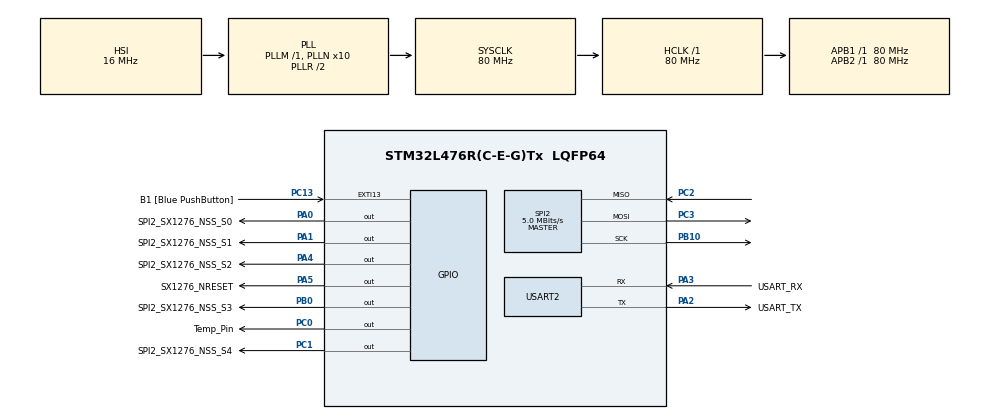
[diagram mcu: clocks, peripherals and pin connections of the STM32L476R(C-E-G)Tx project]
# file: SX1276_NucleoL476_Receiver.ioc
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Mcu.Family=STM32L4
Mcu.Name=STM32L476R(C-E-G)Tx
Mcu.Package=LQFP64
NVIC.EXTI15_10_IRQn=true\:0\:0\:false\:false\:true\:true\:true\:true
NVIC.PriorityGroup=NVIC_PRIORITYGROUP_4
NVIC.RTC_WKUP_IRQn=true\:0\:0\:false\:false\:true\:true\:true\:true
PA0.GPIO_Label=SPI2_SX1276_NSS_S0
PA0.PinState=GPIO_PIN_SET
PA0.Signal=GPIO_Output
PA1.GPIO_Label=SPI2_SX1276_NSS_S1
PA1.Signal=GPIO_Output
PA13\ (JTMS-SWDIO).GPIO_Label=TMS
PA13\ (JTMS-SWDIO).Mode=Trace_Asynchronous_SW
PA13\ (JTMS-SWDIO).Signal=SYS_JTMS-SWDIO
PA14\ (JTCK-SWCLK).GPIO_Label=TCK
PA14\ (JTCK-SWCLK).Mode=Trace_Asynchronous_SW
PA14\ (JTCK-SWCLK).Signal=SYS_JTCK-SWCLK
PA2.GPIO_Label=USART_TX
PA2.GPIO_Mode=GPIO_MODE_AF_PP
PA2.GPIO_PuPd=GPIO_NOPULL
PA2.GPIO_Speed=GPIO_SPEED_FREQ_VERY_HIGH
PA2.Mode=Asynchronous
PA2.Signal=USART2_TX
PA3.GPIO_Label=USART_RX
PA3.GPIO_Mode=GPIO_MODE_AF_PP
PA3.GPIO_PuPd=GPIO_NOPULL
PA3.GPIO_Speed=GPIO_SPEED_FREQ_VERY_HIGH
PA3.Mode=Asynchronous
PA3.Signal=USART2_RX
PA4.GPIO_Label=SPI2_SX1276_NSS_S2
PA4.Signal=GPIO_Output
PA5.GPIO_Label=SX1276_NRESET
PA5.GPIO_ModeDefaultOutputPP=GPIO_MODE_OUTPUT_PP
PA5.GPIO_PuPd=GPIO_NOPULL
PA5.GPIO_Speed=GPIO_SPEED_FREQ_LOW
PA5.PinState=GPIO_PIN_SET
PA5.Signal=GPIO_Output
PB0.GPIO_Label=SPI2_SX1276_NSS_S3
PB0.Signal=GPIO_Output
PB10.Mode=Full_Duplex_Master
PB10.Signal=SPI2_SCK
PB3\ (JTDO-TRACESWO).GPIO_Label=SWO
PB3\ (JTDO-TRACESWO).Mode=Trace_Asynchronous_SW
PB3\ (JTDO-TRACESWO).Signal=SYS_JTDO-SWO
PC0.GPIO_Label=Temp_Pin
PC0.Signal=GPIO_Output
PC1.GPIO_Label=SPI2_SX1276_NSS_S4
PC1.Signal=GPIO_Output
PC13.GPIO_Label=B1 [Blue PushButton]
PC13.GPIO_ModeDefaultEXTI=GPIO_MODE_IT_FALLING
PC13.GPIO_PuPd=GPIO_NOPULL
PC13.Signal=GPXTI13
PC14-OSC32_IN\ (PC14).Mode=LSE-External-Oscillator
PC14-OSC32_IN\ (PC14).Signal=RCC_OSC32_IN
PC15-OSC32_OUT\ (PC15).Mode=LSE-External-Oscillator
PC15-OSC32_OUT\ (PC15).Signal=RCC_OSC32_OUT
PC2.Mode=Full_Duplex_Master
PC2.Signal=SPI2_MISO
PC3.Mode=Full_Duplex_Master
PC3.Signal=SPI2_MOSI
PH0-OSC_IN\ (PH0).Signal=RCC_OSC_IN
PH1-OSC_OUT\ (PH1).Signal=RCC_OSC_OUT
ProjectManager.HeapSize=0x200
ProjectManager.StackSize=0x400
ProjectManager.TargetToolchain=STM32CubeIDE
RCC.ADCFreq_Value=64000000
RCC.AHBFreq_Value=80000000
RCC.APB1Freq_Value=80000000
RCC.APB1TimFreq_Value=80000000
RCC.APB2Freq_Value=80000000
RCC.APB2TimFreq_Value=80000000
RCC.CortexFreq_Value=80000000
RCC.HCLKFreq_Value=80000000
RCC.HSE_VALUE=8000000
RCC.HSI_VALUE=16000000
RCC.MSIClockRange=RCC_MSIRANGE_11
RCC.MSI_VALUE=48000000
RCC.PLLN=10
RCC.PLLSourceVirtual=RCC_PLLSOURCE_HSI
RCC.PREFETCH_ENABLE=1
RCC.SYSCLKFreq_VALUE=80000000
RCC.SYSCLKSource=RCC_SYSCLKSOURCE_PLLCLK
RCC.USART2CLockSelection=RCC_USART2CLKSOURCE_HSI
RCC.USBFreq_Value=64000000
RCC.VCOOutputFreq_Value=160000000
RTC.WakeUpCounter-WakeUp=1
SPI2.BaudRatePrescaler=SPI_BAUDRATEPRESCALER_16
SPI2.CalculateBaudRate=5.0 MBits/s
SPI2.DataSize=SPI_DATASIZE_8BIT
SPI2.Direction=SPI_DIRECTION_2LINES
SPI2.Mode=SPI_MODE_MASTER
SPI2.VirtualType=VM_MASTER
TIM16.Period=65535
TIM16.Prescaler=4000
USART2.VirtualMode-Asynchronous=VM_ASYNC
VP_RTC_VS_RTC_Activate.Mode=RTC_Enabled
VP_RTC_VS_RTC_WakeUp_intern.Mode=WakeUp
VP_TIM16_VS_ClockSourceINT.Mode=Enable_Timer
board=NUCLEO-L476RG

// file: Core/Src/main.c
/* USER CODE BEGIN Header */
/**
 ******************************************************************************
 * @file           : main.c
 * @brief          : Main program body
 ******************************************************************************
 * @attention
 *
 * Copyright (c) 2025 STMicroelectronics.
 * All rights reserved.
 *
 * This software is licensed under terms that can be found in the LICENSE file
 * in the root directory of this software component.
 * If no LICENSE file comes with this software, it is provided AS-IS.
 *
 ******************************************************************************
 */
/* USER CODE END Header */
#include "main.h"

/* USER CODE BEGIN Includes */
#include "stm32_SX1276_spi.h"
#include "string.h"
#include "stdio.h"
/* USER CODE END Includes */

/* USER CODE BEGIN PD */
# define NUMBER_OF_LORA_NODES			0x05

/* USER CODE END PD */

RTC_HandleTypeDef hrtc;

SPI_HandleTypeDef hspi2;

TIM_HandleTypeDef htim16;

UART_HandleTypeDef huart2;

/* USER CODE BEGIN PV */
uint32_t TIM16_PRESCALR=0;
/* USER CODE END PV */

void SystemClock_Config(void);
static void MX_GPIO_Init(void);
static void MX_USART2_UART_Init(void);
static void MX_SPI2_Init(void);
static void MX_RTC_Init(void);
static void MX_TIM16_Init(void);

int main(void)
{

	/* USER CODE BEGIN 1 */
	uint8_t buff[1000]={0};
	/* USER CODE END 1 */

	/* MCU Configuration--------------------------------------------------------*/

	/* Reset of all peripherals, Initializes the Flash interface and the Systick. */
	HAL_Init();

	/* Configure the system clock */
	SystemClock_Config();

	/* Initialize all configured peripherals */
	MX_GPIO_Init();
	MX_USART2_UART_Init();
	MX_SPI2_Init();
	MX_RTC_Init();
	MX_TIM16_Init();
	/* USER CODE BEGIN 2 */

	SPI_SX1276_TypeDef test, test1, test2, test3, test4;
	SX1276_Init_Param init, init1, init2, init3, init4;

	if(NUMBER_OF_LORA_NODES >=1)
	{
		test.NSS_GPIOx = SPI2_SX1276_NSS_S0_GPIO_Port;
		test.NSS_GPIO_Pin = SPI2_SX1276_NSS_S0_Pin;
		test.hspi = &hspi2;
		test.hrtc_l = &hrtc;

		init.NRESET_GPIOx = SX1276_NRESET_GPIO_Port;
		init.NRESET_GPIO_Pin = SX1276_NRESET_Pin;
		init.SPI_SX1276 = test;
		init.hrtc_l = &hrtc;
	}

	if(NUMBER_OF_LORA_NODES >=2)
	{
		test1.NSS_GPIOx = SPI2_SX1276_NSS_S1_GPIO_Port;
		test1.NSS_GPIO_Pin = SPI2_SX1276_NSS_S1_Pin;
		test1.hspi = &hspi2;
		test1.hrtc_l = &hrtc;

		init1.NRESET_GPIOx = SX1276_NRESET_GPIO_Port;
		init1.NRESET_GPIO_Pin = SX1276_NRESET_Pin;
		init1.SPI_SX1276 = test1;
		init1.hrtc_l = &hrtc;
	}

	if(NUMBER_OF_LORA_NODES >=3)
	{
		test2.NSS_GPIOx = SPI2_SX1276_NSS_S2_GPIO_Port;
		test2.NSS_GPIO_Pin = SPI2_SX1276_NSS_S2_Pin;
		test2.hspi = &hspi2;
		test2.hrtc_l = &hrtc;

		init2.NRESET_GPIOx = SX1276_NRESET_GPIO_Port;
		init2.NRESET_GPIO_Pin = SX1276_NRESET_Pin;
		init2.SPI_SX1276 = test2;
		init2.hrtc_l = &hrtc;
	}

	if(NUMBER_OF_LORA_NODES >=4)
	{
		test3.NSS_GPIOx = SPI2_SX1276_NSS_S3_GPIO_Port;
		test3.NSS_GPIO_Pin = SPI2_SX1276_NSS_S3_Pin;
		test3.hspi = &hspi2;
		test3.hrtc_l = &hrtc;

		init3.NRESET_GPIOx = SX1276_NRESET_GPIO_Port;
		init3.NRESET_GPIO_Pin = SX1276_NRESET_Pin;
		init3.SPI_SX1276 = test3;
		init3.hrtc_l = &hrtc;
	}

	if(NUMBER_OF_LORA_NODES >=5)
	{
		test4.NSS_GPIOx = SPI2_SX1276_NSS_S4_GPIO_Port;
		test4.NSS_GPIO_Pin = SPI2_SX1276_NSS_S4_Pin;
		test4.hspi = &hspi2;
		test4.hrtc_l = &hrtc;

		init4.NRESET_GPIOx = SX1276_NRESET_GPIO_Port;
		init4.NRESET_GPIO_Pin = SX1276_NRESET_Pin;
		init4.SPI_SX1276 = test4;
		init4.hrtc_l = &hrtc;
	}

	//---------------------------------------------
	SX1276_CommParam CommParam;
	CommParam.Bandwidth = SX1276_LoRa_REG_MODEM_CONFIG1_BW_125_kHz;
	CommParam.CodingRate= SX1276_LoRa_REG_MODEM_CONFIG1_CR_4_5;
	CommParam.Spreadfactor = SX1276_LoRa_REG_MODEM_CONFIG2_SF7;
	CommParam.PreambleLength = 8;

	uint8_t buffLoRa[255]={0};
	uint8_t buffLoRaR[255]={0};

	sprintf((char *)buffLoRa, " 123456789.123456789.123456789.123456789.123456789.123456789.123456789.123456789.123456789.123456789.123456789.123456789.123456789.123456789.123456789.123456789.123456789.123456789.123456789.123456789.");
	buffLoRa[0] = 1;

	uint8_t count=0;

	uint8_t PacketSize_bytes=240;
	uint8_t PacketSize_bytesR=0;
	//HAL_Delay(1000);

	buffLoRa[1] = count;

	sprintf((char *)buff, "SX1276 Init \r\n");
	HAL_UART_Transmit(&huart2, buff, sizeof(buff), 100);

	uint8_t AvailableLoRaNodes=0xFF;

	/****************************************************
	 * Init Code
	 ****************************************************/
	// Node 0-----------------------------------------------------
	if(NUMBER_OF_LORA_NODES >=1)
	{
		if(SX1276_Init(init)!=SX1276_OK)
		{
			sprintf((char *)buff, "SX1276 Init 0: FAIL \r\n");
			HAL_UART_Transmit(&huart2, buff, sizeof(buff), 100);
		}
		else
		{
			AvailableLoRaNodes &= 0b11111110;
			sprintf((char *)buff, "SX1276 Init 0: OK \r\n");
			HAL_UART_Transmit(&huart2, buff, sizeof(buff), 100);
		}

	}

	// Node 1-----------------------------------------------------
	if(NUMBER_OF_LORA_NODES >=2)
	{
		if(SX1276_Init(init1)!=SX1276_OK)
		{
			sprintf((char *)buff, "SX1276 Init 1: FAIL \r\n");
			HAL_UART_Transmit(&huart2, buff, sizeof(buff), 100);
		}
		else
		{
			AvailableLoRaNodes &= 0b11111101;
			sprintf((char *)buff, "SX1276 Init 1: OK \r\n");
			HAL_UART_Transmit(&huart2, buff, sizeof(buff), 100);
		}

	}

	// Node 2-----------------------------------------------------
	if(NUMBER_OF_LORA_NODES >=3)
	{
		if(SX1276_Init(init2)!=SX1276_OK)
		{
			sprintf((char *)buff, "SX1276 Init 2: FAIL \r\n");
			HAL_UART_Transmit(&huart2, buff, sizeof(buff), 100);
		}
		else
		{
			AvailableLoRaNodes &= 0b11111011;
			sprintf((char *)buff, "SX1276 Init 2: OK \r\n");
			HAL_UART_Transmit(&huart2, buff, sizeof(buff), 100);
		}

	}

	// Node 3-----------------------------------------------------
	if(NUMBER_OF_LORA_NODES >=4)
	{
		if(SX1276_Init(init3)!=SX1276_OK)
		{
			sprintf((char *)buff, "SX1276 Init 3: FAIL \r\n");
			HAL_UART_Transmit(&huart2, buff, sizeof(buff), 100);
		}
		else
		{
			AvailableLoRaNodes &= 0b11110111;
			sprintf((char *)buff, "SX1276 Init 3: OK \r\n");
			HAL_UART_Transmit(&huart2, buff, sizeof(buff), 100);
		}

	}

	// Node 4-----------------------------------------------------
	if(NUMBER_OF_LORA_NODES >=5)
	{
		if(SX1276_Init(init4)!=SX1276_OK)
		{
			sprintf((char *)buff, "SX1276 Init 4: FAIL \r\n");
			HAL_UART_Transmit(&huart2, buff, sizeof(buff), 100);
		}
		else
		{
			AvailableLoRaNodes &= 0b11101111;
			sprintf((char *)buff, "SX1276 Init 4: OK \r\n");
			HAL_UART_Transmit(&huart2, buff, sizeof(buff), 100);
		}

	}

	HAL_GPIO_WritePin(SX1276_NRESET_GPIO_Port, SX1276_NRESET_Pin, GPIO_PIN_RESET);
	HAL_Delay(100);
	HAL_GPIO_WritePin(SX1276_NRESET_GPIO_Port, SX1276_NRESET_Pin, GPIO_PIN_SET);
	HAL_Delay(100);

	/****************************************************
	 * Dummy Transmit
	 ***************************************************/

	// Check Number of LoRa Nodes set and if the node is available
	if( (NUMBER_OF_LORA_NODES >=1) && (AvailableLoRaNodes && 0b00000001) )
	{
		sprintf((char *)buff, "SX1276 Dummy Node 0 Transmit : %u\r\n", SX1276_Transmit(test, buffLoRa, PacketSize_bytes, 906000, SX1276_LoRa_PA_CONFIG_OP_POWER_dBm_17, NORMAL_MODE_MCU_STOP_MODE, CommParam));
		HAL_UART_Transmit(&huart2, buff, sizeof(buff), 100);
	}

	if( (NUMBER_OF_LORA_NODES >=2) && ((AvailableLoRaNodes>>1) && 0b00000001) )
	{
		sprintf((char *)buff, "SX1276 Dummy Node 1 Transmit : %u\r\n", SX1276_Transmit(test1, buffLoRa, PacketSize_bytes, 906000, SX1276_LoRa_PA_CONFIG_OP_POWER_dBm_17, NORMAL_MODE_MCU_STOP_MODE, CommParam));
		HAL_UART_Transmit(&huart2, buff, sizeof(buff), 100);
	}

	if( (NUMBER_OF_LORA_NODES >=3) && ((AvailableLoRaNodes>>2) && 0b00000001) )
	{
		sprintf((char *)buff, "SX1276 Dummy Node 2 Transmit : %u\r\n", SX1276_Transmit(test2, buffLoRa, PacketSize_bytes, 906000, SX1276_LoRa_PA_CONFIG_OP_POWER_dBm_17, NORMAL_MODE_MCU_STOP_MODE, CommParam));
		HAL_UART_Transmit(&huart2, buff, sizeof(buff), 100);
	}

	if( (NUMBER_OF_LORA_NODES >=4) && ((AvailableLoRaNodes>>3) && 0b00000001) )
	{
		sprintf((char *)buff, "SX1276 Dummy Node 3 Transmit : %u\r\n", SX1276_Transmit(test3, buffLoRa, PacketSize_bytes, 906000, SX1276_LoRa_PA_CONFIG_OP_POWER_dBm_17, NORMAL_MODE_MCU_STOP_MODE, CommParam));
		HAL_UART_Transmit(&huart2, buff, sizeof(buff), 100);
	}

	if( (NUMBER_OF_LORA_NODES >=5) && ((AvailableLoRaNodes>>4) && 0b00000001) )
	{
		sprintf((char *)buff, "SX1276 Dummy Node 4 Transmit : %u\r\n", SX1276_Transmit(test4, buffLoRa, PacketSize_bytes, 906000, SX1276_LoRa_PA_CONFIG_OP_POWER_dBm_17, NORMAL_MODE_MCU_STOP_MODE, CommParam));
		HAL_UART_Transmit(&huart2, buff, sizeof(buff), 100);
	}

	/*****************************************************************************************************
	 * Run Sync Schedule
	 * 	-	Set seperately from dummy code so that the dummy code can commented out easily.
	 *	-	The node availability check logic shall be the same.
	 *****************************************************************************************************/

	uint32_t LoRaFrequnecy_KHz = 915000;

	if( (NUMBER_OF_LORA_NODES >=1) && (AvailableLoRaNodes && 0b00000001) )
	{

		if(SX1276_Receiver_RunSyncSchedule(test, buffLoRa, buffLoRaR, PacketSize_bytes, &PacketSize_bytesR, LoRaFrequnecy_KHz, SX1276_LoRa_PA_CONFIG_OP_POWER_dBm_17, CommParam)!=SX1276_OK)
		{
			strcpy((char *)buff, "Run Sync Node 0; 1; failed");
			HAL_UART_Transmit(&huart2, buff, sizeof(buff), 100);
		}

		if(SX1276_Receiver_RunSyncSchedule(test, buffLoRa, buffLoRaR, PacketSize_bytes, &PacketSize_bytesR, LoRaFrequnecy_KHz, SX1276_LoRa_PA_CONFIG_OP_POWER_dBm_17, CommParam)!=SX1276_OK)
		{
			strcpy((char *)buff, "Run Sync Node 0; 1; failed");
			HAL_UART_Transmit(&huart2, buff, sizeof(buff), 100);
		}

		if(SX1276_Receiver_RunSyncSchedule(test, buffLoRa, buffLoRaR, PacketSize_bytes, &PacketSize_bytesR, LoRaFrequnecy_KHz, SX1276_LoRa_PA_CONFIG_OP_POWER_dBm_17, CommParam)!=SX1276_OK)
		{
			strcpy((char *)buff, "Run Sync Node 0; 1; failed");
			HAL_UART_Transmit(&huart2, buff, sizeof(buff), 100);
		}

		if(SX1276_Receiver_RunSyncSchedule(test, buffLoRa, buffLoRaR, PacketSize_bytes, &PacketSize_bytesR, LoRaFrequnecy_KHz, SX1276_LoRa_PA_CONFIG_OP_POWER_dBm_17, CommParam)!=SX1276_OK)
		{
			strcpy((char *)buff, "Run Sync Node 0; 1; failed");
			HAL_UART_Transmit(&huart2, buff, sizeof(buff), 100);
		}

		sprintf((char *)buff, "SX1276 Node 0 Sync Schedule Complete.\r\n");
		HAL_UART_Transmit(&huart2, buff, sizeof(buff), 100);
	}

	/*********************************************************************************
	 * Receiver SetConfig
	 *********************************************************************************/
	LoRaFrequnecy_KHz = 905000;
	uint32_t  HoppFrequencyMultiplier = 250;	//relates to displacement of signal in Hz; Shall be fixed on the basis of bandwidth and spread factor
	uint8_t Status;

	if( (NUMBER_OF_LORA_NODES >=1) && (AvailableLoRaNodes && 0b00000001) )
	{
		Status = SX1276_Multi_Receiver_Contineous_SetConfiguration(test, LoRaFrequnecy_KHz+HoppFrequencyMultiplier*0, CommParam);
		sprintf((char *)buff, "SX1276 Receiver Node 0 SetConfig : %u\r\n", Status);
		HAL_UART_Transmit(&huart2, buff, sizeof(buff), 100);
	}

	if( (NUMBER_OF_LORA_NODES >=2) && ((AvailableLoRaNodes>>1) && 0b00000001) )
	{
		Status = SX1276_Multi_Receiver_Contineous_SetConfiguration(test, LoRaFrequnecy_KHz+HoppFrequencyMultiplier*1, CommParam);
		sprintf((char *)buff, "SX1276 Receiver Node 1 SetConfig : %u\r\n", Status);
		HAL_UART_Transmit(&huart2, buff, sizeof(buff), 100);
	}

	if( (NUMBER_OF_LORA_NODES >=3) && ((AvailableLoRaNodes>>2) && 0b00000001) )
	{
		Status = SX1276_Multi_Receiver_Contineous_SetConfiguration(test, LoRaFrequnecy_KHz+HoppFrequencyMultiplier*2, CommParam);
		sprintf((char *)buff, "SX1276 Receiver Node 2 SetConfig : %u\r\n", Status);
		HAL_UART_Transmit(&huart2, buff, sizeof(buff), 100);
	}

	if( (NUMBER_OF_LORA_NODES >=4) && ((AvailableLoRaNodes>>3) && 0b00000001) )
	{
		Status = SX1276_Multi_Receiver_Contineous_SetConfiguration(test, LoRaFrequnecy_KHz+HoppFrequencyMultiplier*3, CommParam);
		sprintf((char *)buff, "SX1276 Receiver Node 3 SetConfig : %u\r\n", Status);
		HAL_UART_Transmit(&huart2, buff, sizeof(buff), 100);
	}

	if( (NUMBER_OF_LORA_NODES >=5) && ((AvailableLoRaNodes>>4) && 0b00000001) )
	{
		Status = SX1276_Multi_Receiver_Contineous_SetConfiguration(test, LoRaFrequnecy_KHz+HoppFrequencyMultiplier*4, CommParam);
		sprintf((char *)buff, "SX1276 Receiver Node 4 SetConfig : %u\r\n", Status);
		HAL_UART_Transmit(&huart2, buff, sizeof(buff), 100);
	}

	/********************************************************
	 * Get data
	 ********************************************************/
	if( (NUMBER_OF_LORA_NODES >=1) && (AvailableLoRaNodes && 0b00000001) )
	{
		Status = SX1276_Multi_Receiver_Contineous_Receive(test, buffLoRaR, &PacketSize_bytesR);
		sprintf((char *)buff, "SX1276 Receiver Node 0 Data Received : %u\r\n", Status);
		HAL_UART_Transmit(&huart2, buff, sizeof(buff), 100);

		// Print data
		strcpy((char *)buff, "\r\n");
		HAL_UART_Transmit(&huart2, buff, sizeof(buff), 100);
		HAL_UART_Transmit(&huart2, buffLoRaR, sizeof(buffLoRaR), 100);

	}

	if( (NUMBER_OF_LORA_NODES >=2) && ((AvailableLoRaNodes>>1) && 0b00000001) )
	{
		Status = SX1276_Multi_Receiver_Contineous_Receive(test1, buffLoRaR, &PacketSize_bytesR);
		sprintf((char *)buff, "SX1276 Receiver Node 1 Data Received : %u\r\n", Status);
		HAL_UART_Transmit(&huart2, buff, sizeof(buff), 100);

		// Print data
		strcpy((char *)buff, "\r\n");
		HAL_UART_Transmit(&huart2, buff, sizeof(buff), 100);
		HAL_UART_Transmit(&huart2, buffLoRaR, sizeof(buffLoRaR), 100);
	}

	if( (NUMBER_OF_LORA_NODES >=3) && ((AvailableLoRaNodes>>2) && 0b00000001) )
	{
		Status = SX1276_Multi_Receiver_Contineous_Receive(test2, buffLoRaR, &PacketSize_bytesR);
		sprintf((char *)buff, "SX1276 Receiver Node 2 Data Received : %u\r\n", Status);
		HAL_UART_Transmit(&huart2, buff, sizeof(buff), 100);

		// Print data
		strcpy((char *)buff, "\r\n");
		HAL_UART_Transmit(&huart2, buff, sizeof(buff), 100);
		HAL_UART_Transmit(&huart2, buffLoRaR, sizeof(buffLoRaR), 100);
	}

	if( (NUMBER_OF_LORA_NODES >=4) && ((AvailableLoRaNodes>>3) && 0b00000001) )
	{
		Status = SX1276_Multi_Receiver_Contineous_Receive(test3, buffLoRaR, &PacketSize_bytesR);
		sprintf((char *)buff, "SX1276 Receiver Node 3 Data Received : %u\r\n", Status);
		HAL_UART_Transmit(&huart2, buff, sizeof(buff), 100);

		// Print data
		strcpy((char *)buff, "\r\n");
		HAL_UART_Transmit(&huart2, buff, sizeof(buff), 100);
		HAL_UART_Transmit(&huart2, buffLoRaR, sizeof(buffLoRaR), 100);
	}

	if( (NUMBER_OF_LORA_NODES >=5) && ((AvailableLoRaNodes>>4) && 0b00000001) )
	{
		Status = SX1276_Multi_Receiver_Contineous_Receive(test4, buffLoRaR, &PacketSize_bytesR);
		sprintf((char *)buff, "SX1276 Receiver Node 4 Data Received : %u\r\n", Status);
		HAL_UART_Transmit(&huart2, buff, sizeof(buff), 100);

		// Print data
		strcpy((char *)buff, "\r\n");
		HAL_UART_Transmit(&huart2, buff, sizeof(buff), 100);
		HAL_UART_Transmit(&huart2, buffLoRaR, sizeof(buffLoRaR), 100);
	}

	//Hopp-------------------------------------------------------------------------
	/*********************************************************************************
	 * Receiver SetConfig
	 *********************************************************************************/
	LoRaFrequnecy_KHz = 905125;

	if( (NUMBER_OF_LORA_NODES >=1) && (AvailableLoRaNodes && 0b00000001) )
	{
		Status = SX1276_Multi_Receiver_Contineous_SetConfiguration(test, LoRaFrequnecy_KHz+HoppFrequencyMultiplier*0, CommParam);
		sprintf((char *)buff, "SX1276 Receiver Node 0 SetConfig : %u\r\n", Status);
		HAL_UART_Transmit(&huart2, buff, sizeof(buff), 100);
	}

	if( (NUMBER_OF_LORA_NODES >=2) && ((AvailableLoRaNodes>>1) && 0b00000001) )
	{
		Status = SX1276_Multi_Receiver_Contineous_SetConfiguration(test, LoRaFrequnecy_KHz+HoppFrequencyMultiplier*1, CommParam);
		sprintf((char *)buff, "SX1276 Receiver Node 1 SetConfig : %u\r\n", Status);
		HAL_UART_Transmit(&huart2, buff, sizeof(buff), 100);
	}

	if( (NUMBER_OF_LORA_NODES >=3) && ((AvailableLoRaNodes>>2) && 0b00000001) )
	{
		Status = SX1276_Multi_Receiver_Contineous_SetConfiguration(test, LoRaFrequnecy_KHz+HoppFrequencyMultiplier*2, CommParam);
		sprintf((char *)buff, "SX1276 Receiver Node 2 SetConfig : %u\r\n", Status);
		HAL_UART_Transmit(&huart2, buff, sizeof(buff), 100);
	}

	if( (NUMBER_OF_LORA_NODES >=4) && ((AvailableLoRaNodes>>3) && 0b00000001) )
	{
		Status = SX1276_Multi_Receiver_Contineous_SetConfiguration(test, LoRaFrequnecy_KHz+HoppFrequencyMultiplier*3, CommParam);
		sprintf((char *)buff, "SX1276 Receiver Node 3 SetConfig : %u\r\n", Status);
		HAL_UART_Transmit(&huart2, buff, sizeof(buff), 100);
	}

	if( (NUMBER_OF_LORA_NODES >=5) && ((AvailableLoRaNodes>>4) && 0b00000001) )
	{
		Status = SX1276_Multi_Receiver_Contineous_SetConfiguration(test, LoRaFrequnecy_KHz+HoppFrequencyMultiplier*4, CommParam);
		sprintf((char *)buff, "SX1276 Receiver Node 4 SetConfig : %u\r\n", Status);
		HAL_UART_Transmit(&huart2, buff, sizeof(buff), 100);
	}

	/********************************************************
	 * Get data
	 ********************************************************/
	if( (NUMBER_OF_LORA_NODES >=1) && (AvailableLoRaNodes && 0b00000001) )
	{
		Status = SX1276_Multi_Receiver_Contineous_Receive(test, buffLoRaR, &PacketSize_bytesR);
		sprintf((char *)buff, "SX1276 Receiver Node 0 Data Received : %u\r\n", Status);
		HAL_UART_Transmit(&huart2, buff, sizeof(buff), 100);

		// Print data
		strcpy((char *)buff, "\r\n");
		HAL_UART_Transmit(&huart2, buff, sizeof(buff), 100);
		HAL_UART_Transmit(&huart2, buffLoRaR, sizeof(buffLoRaR), 100);

	}

	if( (NUMBER_OF_LORA_NODES >=2) && ((AvailableLoRaNodes>>1) && 0b00000001) )
	{
		Status = SX1276_Multi_Receiver_Contineous_Receive(test1, buffLoRaR, &PacketSize_bytesR);
		sprintf((char *)buff, "SX1276 Receiver Node 1 Data Received : %u\r\n", Status);
		HAL_UART_Transmit(&huart2, buff, sizeof(buff), 100);

		// Print data
		strcpy((char *)buff, "\r\n");
		HAL_UART_Transmit(&huart2, buff, sizeof(buff), 100);
		HAL_UART_Transmit(&huart2, buffLoRaR, sizeof(buffLoRaR), 100);
	}

	if( (NUMBER_OF_LORA_NODES >=3) && ((AvailableLoRaNodes>>2) && 0b00000001) )
	{
		Status = SX1276_Multi_Receiver_Contineous_Receive(test2, buffLoRaR, &PacketSize_bytesR);
		sprintf((char *)buff, "SX1276 Receiver Node 2 Data Received : %u\r\n", Status);
		HAL_UART_Transmit(&huart2, buff, sizeof(buff), 100);

		// Print data
		strcpy((char *)buff, "\r\n");
		HAL_UART_Transmit(&huart2, buff, sizeof(buff), 100);
		HAL_UART_Transmit(&huart2, buffLoRaR, sizeof(buffLoRaR), 100);
	}

	if( (NUMBER_OF_LORA_NODES >=4) && ((AvailableLoRaNodes>>3) && 0b00000001) )
	{
		Status = SX1276_Multi_Receiver_Contineous_Receive(test3, buffLoRaR, &PacketSize_bytesR);
		sprintf((char *)buff, "SX1276 Receiver Node 3 Data Received : %u\r\n", Status);
		HAL_UART_Transmit(&huart2, buff, sizeof(buff), 100);

		// Print data
		strcpy((char *)buff, "\r\n");
		HAL_UART_Transmit(&huart2, buff, sizeof(buff), 100);
		HAL_UART_Transmit(&huart2, buffLoRaR, sizeof(buffLoRaR), 100);
	}

	if( (NUMBER_OF_LORA_NODES >=5) && ((AvailableLoRaNodes>>4) && 0b00000001) )
	{
		Status = SX1276_Multi_Receiver_Contineous_Receive(test4, buffLoRaR, &PacketSize_bytesR);
		sprintf((char *)buff, "SX1276 Receiver Node 4 Data Received : %u\r\n", Status);
		HAL_UART_Transmit(&huart2, buff, sizeof(buff), 100);

		// Print data
		strcpy((char *)buff, "\r\n");
		HAL_UART_Transmit(&huart2, buff, sizeof(buff), 100);
		HAL_UART_Transmit(&huart2, buffLoRaR, sizeof(buffLoRaR), 100);
	}

	//Hopp-------------------------------------------------------------------------
	/*********************************************************************************
	 * Receiver SetConfig
	 *********************************************************************************/
	LoRaFrequnecy_KHz = 906250;

	if( (NUMBER_OF_LORA_NODES >=1) && (AvailableLoRaNodes && 0b00000001) )
	{
		Status = SX1276_Multi_Receiver_Contineous_SetConfiguration(test, LoRaFrequnecy_KHz+HoppFrequencyMultiplier*0, CommParam);
		sprintf((char *)buff, "SX1276 Receiver Node 0 SetConfig : %u\r\n", Status);
		HAL_UART_Transmit(&huart2, buff, sizeof(buff), 100);
	}

	if( (NUMBER_OF_LORA_NODES >=2) && ((AvailableLoRaNodes>>1) && 0b00000001) )
	{
		Status = SX1276_Multi_Receiver_Contineous_SetConfiguration(test, LoRaFrequnecy_KHz+HoppFrequencyMultiplier*1, CommParam);
		sprintf((char *)buff, "SX1276 Receiver Node 1 SetConfig : %u\r\n", Status);
		HAL_UART_Transmit(&huart2, buff, sizeof(buff), 100);
	}

	if( (NUMBER_OF_LORA_NODES >=3) && ((AvailableLoRaNodes>>2) && 0b00000001) )
	{
		Status = SX1276_Multi_Receiver_Contineous_SetConfiguration(test, LoRaFrequnecy_KHz+HoppFrequencyMultiplier*2, CommParam);
		sprintf((char *)buff, "SX1276 Receiver Node 2 SetConfig : %u\r\n", Status);
		HAL_UART_Transmit(&huart2, buff, sizeof(buff), 100);
	}

	if( (NUMBER_OF_LORA_NODES >=4) && ((AvailableLoRaNodes>>3) && 0b00000001) )
	{
		Status = SX1276_Multi_Receiver_Contineous_SetConfiguration(test, LoRaFrequnecy_KHz+HoppFrequencyMultiplier*3, CommParam);
		sprintf((char *)buff, "SX1276 Receiver Node 3 SetConfig : %u\r\n", Status);
		HAL_UART_Transmit(&huart2, buff, sizeof(buff), 100);
	}

	if( (NUMBER_OF_LORA_NODES >=5) && ((AvailableLoRaNodes>>4) && 0b00000001) )
	{
		Status = SX1276_Multi_Receiver_Contineous_SetConfiguration(test, LoRaFrequnecy_KHz+HoppFrequencyMultiplier*4, CommParam);
		sprintf((char *)buff, "SX1276 Receiver Node 4 SetConfig : %u\r\n", Status);
		HAL_UART_Transmit(&huart2, buff, sizeof(buff), 100);
	}

	/********************************************************
	 * Get data
	 ********************************************************/
	if( (NUMBER_OF_LORA_NODES >=1) && (AvailableLoRaNodes && 0b00000001) )
	{
		Status = SX1276_Multi_Receiver_Contineous_Receive(test, buffLoRaR, &PacketSize_bytesR);
		sprintf((char *)buff, "SX1276 Receiver Node 0 Data Received : %u\r\n", Status);
		HAL_UART_Transmit(&huart2, buff, sizeof(buff), 100);

		// Print data
		strcpy((char *)buff, "\r\n");
		HAL_UART_Transmit(&huart2, buff, sizeof(buff), 100);
		HAL_UART_Transmit(&huart2, buffLoRaR, sizeof(buffLoRaR), 100);

	}

	if( (NUMBER_OF_LORA_NODES >=2) && ((AvailableLoRaNodes>>1) && 0b00000001) )
	{
		Status = SX1276_Multi_Receiver_Contineous_Receive(test1, buffLoRaR, &PacketSize_bytesR);
		sprintf((char *)buff, "SX1276 Receiver Node 1 Data Received : %u\r\n", Status);
		HAL_UART_Transmit(&huart2, buff, sizeof(buff), 100);

		// Print data
		strcpy((char *)buff, "\r\n");
		HAL_UART_Transmit(&huart2, buff, sizeof(buff), 100);
		HAL_UART_Transmit(&huart2, buffLoRaR, sizeof(buffLoRaR), 100);
	}

	if( (NUMBER_OF_LORA_NODES >=3) && ((AvailableLoRaNodes>>2) && 0b00000001) )
	{
		Status = SX1276_Multi_Receiver_Contineous_Receive(test2, buffLoRaR, &PacketSize_bytesR);
		sprintf((char *)buff, "SX1276 Receiver Node 2 Data Received : %u\r\n", Status);
		HAL_UART_Transmit(&huart2, buff, sizeof(buff), 100);

		// Print data
		strcpy((char *)buff, "\r\n");
		HAL_UART_Transmit(&huart2, buff, sizeof(buff), 100);
		HAL_UART_Transmit(&huart2, buffLoRaR, sizeof(buffLoRaR), 100);
	}

	if( (NUMBER_OF_LORA_NODES >=4) && ((AvailableLoRaNodes>>3) && 0b00000001) )
	{
		Status = SX1276_Multi_Receiver_Contineous_Receive(test3, buffLoRaR, &PacketSize_bytesR);
		sprintf((char *)buff, "SX1276 Receiver Node 3 Data Received : %u\r\n", Status);
		HAL_UART_Transmit(&huart2, buff, sizeof(buff), 100);

		// Print data
		strcpy((char *)buff, "\r\n");
		HAL_UART_Transmit(&huart2, buff, sizeof(buff), 100);
		HAL_UART_Transmit(&huart2, buffLoRaR, sizeof(buffLoRaR), 100);
	}

	if( (NUMBER_OF_LORA_NODES >=5) && ((AvailableLoRaNodes>>4) && 0b00000001) )
	{
		Status = SX1276_Multi_Receiver_Contineous_Receive(test4, buffLoRaR, &PacketSize_bytesR);
		sprintf((char *)buff, "SX1276 Receiver Node 4 Data Received : %u\r\n", Status);
		HAL_UART_Transmit(&huart2, buff, sizeof(buff), 100);

		// Print data
		strcpy((char *)buff, "\r\n");
		HAL_UART_Transmit(&huart2, buff, sizeof(buff), 100);
		HAL_UART_Transmit(&huart2, buffLoRaR, sizeof(buffLoRaR), 100);
	}

	//Hopp-------------------------------------------------------------------------
	/*********************************************************************************
	 * Receiver SetConfig
	 *********************************************************************************/
	LoRaFrequnecy_KHz = 906375;

	if( (NUMBER_OF_LORA_NODES >=1) && (AvailableLoRaNodes && 0b00000001) )
	{
		Status = SX1276_Multi_Receiver_Contineous_SetConfiguration(test, LoRaFrequnecy_KHz+HoppFrequencyMultiplier*0, CommParam);
		sprintf((char *)buff, "SX1276 Receiver Node 0 SetConfig : %u\r\n", Status);
		HAL_UART_Transmit(&huart2, buff, sizeof(buff), 100);
	}

	if( (NUMBER_OF_LORA_NODES >=2) && ((AvailableLoRaNodes>>1) && 0b00000001) )
	{
		Status = SX1276_Multi_Receiver_Contineous_SetConfiguration(test, LoRaFrequnecy_KHz+HoppFrequencyMultiplier*1, CommParam);
		sprintf((char *)buff, "SX1276 Receiver Node 1 SetConfig : %u\r\n", Status);
		HAL_UART_Transmit(&huart2, buff, sizeof(buff), 100);
	}

	if( (NUMBER_OF_LORA_NODES >=3) && ((AvailableLoRaNodes>>2) && 0b00000001) )
	{
		Status = SX1276_Multi_Receiver_Contineous_SetConfiguration(test, LoRaFrequnecy_KHz+HoppFrequencyMultiplier*2, CommParam);
		sprintf((char *)buff, "SX1276 Receiver Node 2 SetConfig : %u\r\n", Status);
		HAL_UART_Transmit(&huart2, buff, sizeof(buff), 100);
	}

	if( (NUMBER_OF_LORA_NODES >=4) && ((AvailableLoRaNodes>>3) && 0b00000001) )
	{
		Status = SX1276_Multi_Receiver_Contineous_SetConfiguration(test, LoRaFrequnecy_KHz+HoppFrequencyMultiplier*3, CommParam);
		sprintf((char *)buff, "SX1276 Receiver Node 3 SetConfig : %u\r\n", Status);
		HAL_UART_Transmit(&huart2, buff, sizeof(buff), 100);
	}

	if( (NUMBER_OF_LORA_NODES >=5) && ((AvailableLoRaNodes>>4) && 0b00000001) )
	{
		Status = SX1276_Multi_Receiver_Contineous_SetConfiguration(test, LoRaFrequnecy_KHz+HoppFrequencyMultiplier*4, CommParam);
		sprintf((char *)buff, "SX1276 Receiver Node 4 SetConfig : %u\r\n", Status);
		HAL_UART_Transmit(&huart2, buff, sizeof(buff), 100);
	}

	/********************************************************
	 * Get data
	 ********************************************************/
	if( (NUMBER_OF_LORA_NODES >=1) && (AvailableLoRaNodes && 0b00000001) )
	{
		Status = SX1276_Multi_Receiver_Contineous_Receive(test, buffLoRaR, &PacketSize_bytesR);
		sprintf((char *)buff, "SX1276 Receiver Node 0 Data Received : %u\r\n", Status);
		HAL_UART_Transmit(&huart2, buff, sizeof(buff), 100);

		// Print data
		strcpy((char *)buff, "\r\n");
		HAL_UART_Transmit(&huart2, buff, sizeof(buff), 100);
		HAL_UART_Transmit(&huart2, buffLoRaR, sizeof(buffLoRaR), 100);

	}

	if( (NUMBER_OF_LORA_NODES >=2) && ((AvailableLoRaNodes>>1) && 0b00000001) )
	{
		Status = SX1276_Multi_Receiver_Contineous_Receive(test1, buffLoRaR, &PacketSize_bytesR);
		sprintf((char *)buff, "SX1276 Receiver Node 1 Data Received : %u\r\n", Status);
		HAL_UART_Transmit(&huart2, buff, sizeof(buff), 100);

		// Print data
		strcpy((char *)buff, "\r\n");
		HAL_UART_Transmit(&huart2, buff, sizeof(buff), 100);
		HAL_UART_Transmit(&huart2, buffLoRaR, sizeof(buffLoRaR), 100);
	}

	if( (NUMBER_OF_LORA_NODES >=3) && ((AvailableLoRaNodes>>2) && 0b00000001) )
	{
		Status = SX1276_Multi_Receiver_Contineous_Receive(test2, buffLoRaR, &PacketSize_bytesR);
		sprintf((char *)buff, "SX1276 Receiver Node 2 Data Received : %u\r\n", Status);
		HAL_UART_Transmit(&huart2, buff, sizeof(buff), 100);

		// Print data
		strcpy((char *)buff, "\r\n");
		HAL_UART_Transmit(&huart2, buff, sizeof(buff), 100);
		HAL_UART_Transmit(&huart2, buffLoRaR, sizeof(buffLoRaR), 100);
	}

	if( (NUMBER_OF_LORA_NODES >=4) && ((AvailableLoRaNodes>>3) && 0b00000001) )
	{
		Status = SX1276_Multi_Receiver_Contineous_Receive(test3, buffLoRaR, &PacketSize_bytesR);
		sprintf((char *)buff, "SX1276 Receiver Node 3 Data Received : %u\r\n", Status);
		HAL_UART_Transmit(&huart2, buff, sizeof(buff), 100);

		// Print data
		strcpy((char *)buff, "\r\n");
		HAL_UART_Transmit(&huart2, buff, sizeof(buff), 100);
		HAL_UART_Transmit(&huart2, buffLoRaR, sizeof(buffLoRaR), 100);
	}

	if( (NUMBER_OF_LORA_NODES >=5) && ((AvailableLoRaNodes>>4) && 0b00000001) )
	{
		Status = SX1276_Multi_Receiver_Contineous_Receive(test4, buffLoRaR, &PacketSize_bytesR);
		sprintf((char *)buff, "SX1276 Receiver Node 4 Data Received : %u\r\n", Status);
		HAL_UART_Transmit(&huart2, buff, sizeof(buff), 100);

		// Print data
		strcpy((char *)buff, "\r\n");
		HAL_UART_Transmit(&huart2, buff, sizeof(buff), 100);
		HAL_UART_Transmit(&huart2, buffLoRaR, sizeof(buffLoRaR), 100);
	}

	//Hopp-------------------------------------------------------------------------
	/*********************************************************************************
	 * Receiver SetConfig
	 *********************************************************************************/
	LoRaFrequnecy_KHz = 907500;

	if( (NUMBER_OF_LORA_NODES >=1) && (AvailableLoRaNodes && 0b00000001) )
	{
		Status = SX1276_Multi_Receiver_Contineous_SetConfiguration(test, LoRaFrequnecy_KHz+HoppFrequencyMultiplier*0, CommParam);
		sprintf((char *)buff, "SX1276 Receiver Node 0 SetConfig : %u\r\n", Status);
		HAL_UART_Transmit(&huart2, buff, sizeof(buff), 100);
	}

	if( (NUMBER_OF_LORA_NODES >=2) && ((AvailableLoRaNodes>>1) && 0b00000001) )
	{
		Status = SX1276_Multi_Receiver_Contineous_SetConfiguration(test, LoRaFrequnecy_KHz+HoppFrequencyMultiplier*1, CommParam);
		sprintf((char *)buff, "SX1276 Receiver Node 1 SetConfig : %u\r\n", Status);
		HAL_UART_Transmit(&huart2, buff, sizeof(buff), 100);
	}

	if( (NUMBER_OF_LORA_NODES >=3) && ((AvailableLoRaNodes>>2) && 0b00000001) )
	{
		Status = SX1276_Multi_Receiver_Contineous_SetConfiguration(test, LoRaFrequnecy_KHz+HoppFrequencyMultiplier*2, CommParam);
		sprintf((char *)buff, "SX1276 Receiver Node 2 SetConfig : %u\r\n", Status);
		HAL_UART_Transmit(&huart2, buff, sizeof(buff), 100);
	}

	if( (NUMBER_OF_LORA_NODES >=4) && ((AvailableLoRaNodes>>3) && 0b00000001) )
	{
		Status = SX1276_Multi_Receiver_Contineous_SetConfiguration(test, LoRaFrequnecy_KHz+HoppFrequencyMultiplier*3, CommParam);
		sprintf((char *)buff, "SX1276 Receiver Node 3 SetConfig : %u\r\n", Status);
		HAL_UART_Transmit(&huart2, buff, sizeof(buff), 100);
	}

	if( (NUMBER_OF_LORA_NODES >=5) && ((AvailableLoRaNodes>>4) && 0b00000001) )
	{
		Status = SX1276_Multi_Receiver_Contineous_SetConfiguration(test, LoRaFrequnecy_KHz+HoppFrequencyMultiplier*4, CommParam);
		sprintf((char *)buff, "SX1276 Receiver Node 4 SetConfig : %u\r\n", Status);
		HAL_UART_Transmit(&huart2, buff, sizeof(buff), 100);
	}

	/********************************************************
	 * Get data
	 ********************************************************/
	if( (NUMBER_OF_LORA_NODES >=1) && (AvailableLoRaNodes && 0b00000001) )
	{
		Status = SX1276_Multi_Receiver_Contineous_Receive(test, buffLoRaR, &PacketSize_bytesR);
		sprintf((char *)buff, "SX1276 Receiver Node 0 Data Received : %u\r\n", Status);
		HAL_UART_Transmit(&huart2, buff, sizeof(buff), 100);

		// Print data
		strcpy((char *)buff, "\r\n");
		HAL_UART_Transmit(&huart2, buff, sizeof(buff), 100);
		HAL_UART_Transmit(&huart2, buffLoRaR, sizeof(buffLoRaR), 100);

	}

	if( (NUMBER_OF_LORA_NODES >=2) && ((AvailableLoRaNodes>>1) && 0b00000001) )
	{
		Status = SX1276_Multi_Receiver_Contineous_Receive(test1, buffLoRaR, &PacketSize_bytesR);
		sprintf((char *)buff, "SX1276 Receiver Node 1 Data Received : %u\r\n", Status);
		HAL_UART_Transmit(&huart2, buff, sizeof(buff), 100);

		// Print data
		strcpy((char *)buff, "\r\n");
		HAL_UART_Transmit(&huart2, buff, sizeof(buff), 100);
		HAL_UART_Transmit(&huart2, buffLoRaR, sizeof(buffLoRaR), 100);
	}

	if( (NUMBER_OF_LORA_NODES >=3) && ((AvailableLoRaNodes>>2) && 0b00000001) )
	{
		Status = SX1276_Multi_Receiver_Contineous_Receive(test2, buffLoRaR, &PacketSize_bytesR);
		sprintf((char *)buff, "SX1276 Receiver Node 2 Data Received : %u\r\n", Status);
		HAL_UART_Transmit(&huart2, buff, sizeof(buff), 100);

		// Print data
		strcpy((char *)buff, "\r\n");
		HAL_UART_Transmit(&huart2, buff, sizeof(buff), 100);
		HAL_UART_Transmit(&huart2, buffLoRaR, sizeof(buffLoRaR), 100);
	}

	if( (NUMBER_OF_LORA_NODES >=4) && ((AvailableLoRaNodes>>3) && 0b00000001) )
	{
		Status = SX1276_Multi_Receiver_Contineous_Receive(test3, buffLoRaR, &PacketSize_bytesR);
		sprintf((char *)buff, "SX1276 Receiver Node 3 Data Received : %u\r\n", Status);
		HAL_UART_Transmit(&huart2, buff, sizeof(buff), 100);

		// Print data
		strcpy((char *)buff, "\r\n");
		HAL_UART_Transmit(&huart2, buff, sizeof(buff), 100);
		HAL_UART_Transmit(&huart2, buffLoRaR, sizeof(buffLoRaR), 100);
	}

	if( (NUMBER_OF_LORA_NODES >=5) && ((AvailableLoRaNodes>>4) && 0b00000001) )
	{
		Status = SX1276_Multi_Receiver_Contineous_Receive(test4, buffLoRaR, &PacketSize_bytesR);
		sprintf((char *)buff, "SX1276 Receiver Node 4 Data Received : %u\r\n", Status);
		HAL_UART_Transmit(&huart2, buff, sizeof(buff), 100);

		// Print data
		strcpy((char *)buff, "\r\n");
		HAL_UART_Transmit(&huart2, buff, sizeof(buff), 100);
		HAL_UART_Transmit(&huart2, buffLoRaR, sizeof(buffLoRaR), 100);
	}

	/* USER CODE END 2 */

	/* Infinite loop */
	while (1)
	{

	}
}

void SystemClock_Config(void)
{
	RCC_OscInitTypeDef RCC_OscInitStruct = {0};
	RCC_ClkInitTypeDef RCC_ClkInitStruct = {0};

	/** Configure the main internal regulator output voltage
	 */
	if (HAL_PWREx_ControlVoltageScaling(PWR_REGULATOR_VOLTAGE_SCALE1) != HAL_OK)
	{
		Error_Handler();
	}

	/** Initializes the RCC Oscillators according to the specified parameters
	 * in the RCC_OscInitTypeDef structure.
	 */
	RCC_OscInitStruct.OscillatorType = RCC_OSCILLATORTYPE_HSI|RCC_OSCILLATORTYPE_LSI;
	RCC_OscInitStruct.HSIState = RCC_HSI_ON;
	RCC_OscInitStruct.HSICalibrationValue = RCC_HSICALIBRATION_DEFAULT;
	RCC_OscInitStruct.LSIState = RCC_LSI_ON;
	RCC_OscInitStruct.PLL.PLLState = RCC_PLL_ON;
	RCC_OscInitStruct.PLL.PLLSource = RCC_PLLSOURCE_HSI;
	RCC_OscInitStruct.PLL.PLLM = 1;
	RCC_OscInitStruct.PLL.PLLN = 10;
	RCC_OscInitStruct.PLL.PLLP = RCC_PLLP_DIV7;
	RCC_OscInitStruct.PLL.PLLQ = RCC_PLLQ_DIV2;
	RCC_OscInitStruct.PLL.PLLR = RCC_PLLR_DIV2;
	if (HAL_RCC_OscConfig(&RCC_OscInitStruct) != HAL_OK)
	{
		Error_Handler();
	}

	/** Initializes the CPU, AHB and APB buses clocks
	 */
	RCC_ClkInitStruct.ClockType = RCC_CLOCKTYPE_HCLK|RCC_CLOCKTYPE_SYSCLK
			|RCC_CLOCKTYPE_PCLK1|RCC_CLOCKTYPE_PCLK2;
	RCC_ClkInitStruct.SYSCLKSource = RCC_SYSCLKSOURCE_PLLCLK;
	RCC_ClkInitStruct.AHBCLKDivider = RCC_SYSCLK_DIV1;
	RCC_ClkInitStruct.APB1CLKDivider = RCC_HCLK_DIV1;
	RCC_ClkInitStruct.APB2CLKDivider = RCC_HCLK_DIV1;

	if (HAL_RCC_ClockConfig(&RCC_ClkInitStruct, FLASH_LATENCY_4) != HAL_OK)
	{
		Error_Handler();
	}
}

static void MX_RTC_Init(void)
{

	/** Initialize RTC Only
	 */
	hrtc.Instance = RTC;
	hrtc.Init.HourFormat = RTC_HOURFORMAT_24;
	hrtc.Init.AsynchPrediv = 127;
	hrtc.Init.SynchPrediv = 255;
	hrtc.Init.OutPut = RTC_OUTPUT_DISABLE;
	hrtc.Init.OutPutRemap = RTC_OUTPUT_REMAP_NONE;
	hrtc.Init.OutPutPolarity = RTC_OUTPUT_POLARITY_HIGH;
	hrtc.Init.OutPutType = RTC_OUTPUT_TYPE_OPENDRAIN;
	if (HAL_RTC_Init(&hrtc) != HAL_OK)
	{
		Error_Handler();
	}

}

static void MX_SPI2_Init(void)
{

	/* SPI2 parameter configuration*/
	hspi2.Instance = SPI2;
	hspi2.Init.Mode = SPI_MODE_MASTER;
	hspi2.Init.Direction = SPI_DIRECTION_2LINES;
	hspi2.Init.DataSize = SPI_DATASIZE_8BIT;
	hspi2.Init.CLKPolarity = SPI_POLARITY_LOW;
	hspi2.Init.CLKPhase = SPI_PHASE_1EDGE;
	hspi2.Init.NSS = SPI_NSS_SOFT;
	hspi2.Init.BaudRatePrescaler = SPI_BAUDRATEPRESCALER_16;
	hspi2.Init.FirstBit = SPI_FIRSTBIT_MSB;
	hspi2.Init.TIMode = SPI_TIMODE_DISABLE;
	hspi2.Init.CRCCalculation = SPI_CRCCALCULATION_DISABLE;
	hspi2.Init.CRCPolynomial = 7;
	hspi2.Init.CRCLength = SPI_CRC_LENGTH_DATASIZE;
	hspi2.Init.NSSPMode = SPI_NSS_PULSE_ENABLE;
	if (HAL_SPI_Init(&hspi2) != HAL_OK)
	{
		Error_Handler();
	}

}

static void MX_TIM16_Init(void)
{

	htim16.Instance = TIM16;
	htim16.Init.Prescaler = 4000;
	htim16.Init.CounterMode = TIM_COUNTERMODE_UP;
	htim16.Init.Period = 65535;
	htim16.Init.ClockDivision = TIM_CLOCKDIVISION_DIV1;
	htim16.Init.RepetitionCounter = 0;
	htim16.Init.AutoReloadPreload = TIM_AUTORELOAD_PRELOAD_DISABLE;
	if (HAL_TIM_Base_Init(&htim16) != HAL_OK)
	{
		Error_Handler();
	}
	/* USER CODE BEGIN TIM16_Init 2 */
	TIM16_PRESCALR = htim16.Init.Prescaler;
	/* USER CODE END TIM16_Init 2 */

}

static void MX_USART2_UART_Init(void)
{

	huart2.Instance = USART2;
	huart2.Init.BaudRate = 115200;
	huart2.Init.WordLength = UART_WORDLENGTH_8B;
	huart2.Init.StopBits = UART_STOPBITS_1;
	huart2.Init.Parity = UART_PARITY_NONE;
	huart2.Init.Mode = UART_MODE_TX_RX;
	huart2.Init.HwFlowCtl = UART_HWCONTROL_NONE;
	huart2.Init.OverSampling = UART_OVERSAMPLING_16;
	huart2.Init.OneBitSampling = UART_ONE_BIT_SAMPLE_DISABLE;
	huart2.AdvancedInit.AdvFeatureInit = UART_ADVFEATURE_NO_INIT;
	if (HAL_UART_Init(&huart2) != HAL_OK)
	{
		Error_Handler();
	}

}

static void MX_GPIO_Init(void)
{
	GPIO_InitTypeDef GPIO_InitStruct = {0};

	/* GPIO Ports Clock Enable */
	__HAL_RCC_GPIOC_CLK_ENABLE();
	__HAL_RCC_GPIOH_CLK_ENABLE();
	__HAL_RCC_GPIOA_CLK_ENABLE();
	__HAL_RCC_GPIOB_CLK_ENABLE();

	/*Configure GPIO pin Output Level */
	HAL_GPIO_WritePin(GPIOC, Temp_Pin_Pin|SPI2_SX1276_NSS_S4_Pin, GPIO_PIN_RESET);

	/*Configure GPIO pin Output Level */
	HAL_GPIO_WritePin(GPIOA, SPI2_SX1276_NSS_S0_Pin|SX1276_NRESET_Pin, GPIO_PIN_SET);

	/*Configure GPIO pin Output Level */
	HAL_GPIO_WritePin(GPIOA, SPI2_SX1276_NSS_S1_Pin|SPI2_SX1276_NSS_S2_Pin, GPIO_PIN_RESET);

	/*Configure GPIO pin Output Level */
	HAL_GPIO_WritePin(SPI2_SX1276_NSS_S3_GPIO_Port, SPI2_SX1276_NSS_S3_Pin, GPIO_PIN_RESET);

	/*Configure GPIO pin : B1_Pin */
	GPIO_InitStruct.Pin = B1_Pin;
	GPIO_InitStruct.Mode = GPIO_MODE_IT_FALLING;
	GPIO_InitStruct.Pull = GPIO_NOPULL;
	HAL_GPIO_Init(B1_GPIO_Port, &GPIO_InitStruct);

	/*Configure GPIO pins : Temp_Pin_Pin SPI2_SX1276_NSS_S4_Pin */
	GPIO_InitStruct.Pin = Temp_Pin_Pin|SPI2_SX1276_NSS_S4_Pin;
	GPIO_InitStruct.Mode = GPIO_MODE_OUTPUT_PP;
	GPIO_InitStruct.Pull = GPIO_NOPULL;
	GPIO_InitStruct.Speed = GPIO_SPEED_FREQ_LOW;
	HAL_GPIO_Init(GPIOC, &GPIO_InitStruct);

	/*Configure GPIO pins : SPI2_SX1276_NSS_S0_Pin SPI2_SX1276_NSS_S1_Pin SPI2_SX1276_NSS_S2_Pin SX1276_NRESET_Pin */
	GPIO_InitStruct.Pin = SPI2_SX1276_NSS_S0_Pin|SPI2_SX1276_NSS_S1_Pin|SPI2_SX1276_NSS_S2_Pin|SX1276_NRESET_Pin;
	GPIO_InitStruct.Mode = GPIO_MODE_OUTPUT_PP;
	GPIO_InitStruct.Pull = GPIO_NOPULL;
	GPIO_InitStruct.Speed = GPIO_SPEED_FREQ_LOW;
	HAL_GPIO_Init(GPIOA, &GPIO_InitStruct);

	/*Configure GPIO pin : SPI2_SX1276_NSS_S3_Pin */
	GPIO_InitStruct.Pin = SPI2_SX1276_NSS_S3_Pin;
	GPIO_InitStruct.Mode = GPIO_MODE_OUTPUT_PP;
	GPIO_InitStruct.Pull = GPIO_NOPULL;
	GPIO_InitStruct.Speed = GPIO_SPEED_FREQ_LOW;
	HAL_GPIO_Init(SPI2_SX1276_NSS_S3_GPIO_Port, &GPIO_InitStruct);

	/* EXTI interrupt init*/
	HAL_NVIC_SetPriority(EXTI15_10_IRQn, 0, 0);
	HAL_NVIC_EnableIRQ(EXTI15_10_IRQn);

}

void Error_Handler(void)
{
	__disable_irq();
	while (1)
	{
	}
}
